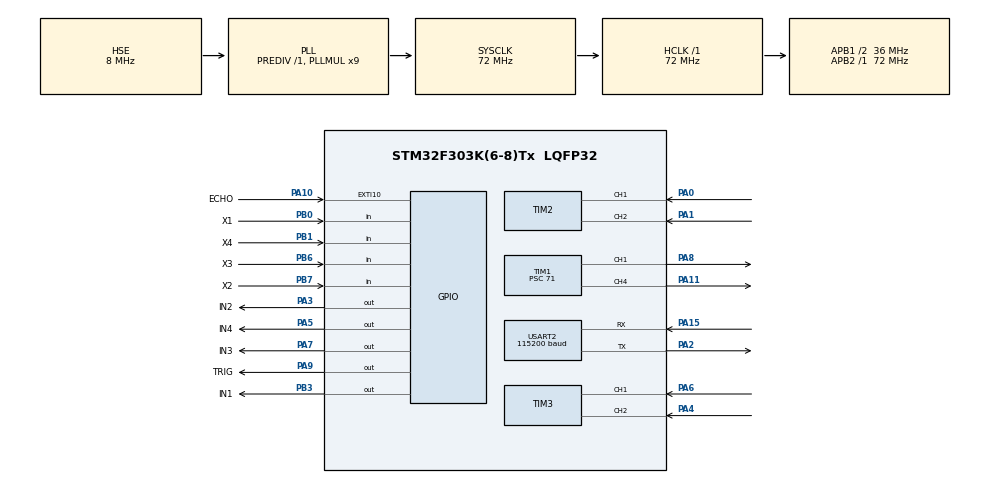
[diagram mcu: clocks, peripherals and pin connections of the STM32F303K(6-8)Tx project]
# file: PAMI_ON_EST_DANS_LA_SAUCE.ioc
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Mcu.Family=STM32F3
Mcu.Name=STM32F303K(6-8)Tx
Mcu.Package=LQFP32
NVIC.EXTI15_10_IRQn=true\:0\:0\:false\:false\:true\:true\:true\:true
NVIC.PriorityGroup=NVIC_PRIORITYGROUP_4
PA0.Signal=S_TIM2_CH1_ETR
PA1.Signal=S_TIM2_CH2
PA10.GPIO_Label=ECHO
PA10.GPIO_ModeDefaultEXTI=GPIO_MODE_IT_RISING_FALLING
PA10.Signal=GPXTI10
PA11.Signal=S_TIM1_CH4
PA13.GPIO_Label=SWDIO
PA13.Mode=Serial_Wire
PA13.Signal=SYS_JTMS-SWDIO
PA14.GPIO_Label=SWCLK
PA14.Mode=Serial_Wire
PA14.Signal=SYS_JTCK-SWCLK
PA15.Mode=Asynchronous
PA15.Signal=USART2_RX
PA2.Mode=Asynchronous
PA2.Signal=USART2_TX
PA3.GPIO_Label=IN2
PA3.Signal=GPIO_Output
PA4.Signal=S_TIM3_CH2
PA5.GPIO_Label=IN4
PA5.Signal=GPIO_Output
PA6.Signal=S_TIM3_CH1
PA7.GPIO_Label=IN3
PA7.Signal=GPIO_Output
PA8.Signal=S_TIM1_CH1
PA9.GPIO_Label=TRIG
PA9.Signal=GPIO_Output
PB0.GPIO_Label=X1
PB0.Signal=GPIO_Input
PB1.GPIO_Label=X4
PB1.Signal=GPIO_Input
PB3.GPIO_Label=IN1
PB3.Signal=GPIO_Output
PB6.GPIO_Label=X3
PB6.Signal=GPIO_Input
PB7.GPIO_Label=X2
PB7.Signal=GPIO_Input
PF0\ /\ OSC_IN.GPIO_Label=MCO
PF0\ /\ OSC_IN.Mode=HSE-External-Clock-Source
PF0\ /\ OSC_IN.Signal=RCC_OSC_IN
ProjectManager.HeapSize=0x200
ProjectManager.StackSize=0x400
ProjectManager.TargetToolchain=STM32CubeIDE
RCC.AHBFreq_Value=72000000
RCC.APB1CLKDivider=RCC_HCLK_DIV2
RCC.APB1Freq_Value=36000000
RCC.APB1TimFreq_Value=72000000
RCC.APB2Freq_Value=72000000
RCC.APB2TimFreq_Value=72000000
RCC.CortexFreq_Value=72000000
RCC.HCLKFreq_Value=72000000
RCC.HSE_VALUE=8000000
RCC.HSI_VALUE=8000000
RCC.PLLMUL=RCC_PLL_MUL9
RCC.PLLSourceVirtual=RCC_PLLSOURCE_HSE
RCC.SYSCLKFreq_VALUE=72000000
RCC.SYSCLKSourceVirtual=RCC_SYSCLKSOURCE_PLLCLK
SH.S_TIM1_CH1.0=TIM1_CH1,PWM Generation1 CH1
SH.S_TIM1_CH4.0=TIM1_CH4,PWM Generation4 CH4
SH.S_TIM2_CH1_ETR.0=TIM2_CH1,Encoder_Interface
SH.S_TIM2_CH2.0=TIM2_CH2,Encoder_Interface
SH.S_TIM3_CH1.0=TIM3_CH1,Encoder_Interface
SH.S_TIM3_CH2.0=TIM3_CH2,Encoder_Interface
TIM1.Channel-PWM\ Generation1\ CH1=TIM_CHANNEL_1
TIM1.Channel-PWM\ Generation4\ CH4=TIM_CHANNEL_4
TIM1.Period=1999
TIM1.Prescaler=71
TIM6.Period=65535
TIM6.Prescaler=71
TIM6.TIM_MasterOutputTrigger=TIM_TRGO_RESET
USART2.BaudRate=115200
USART2.VirtualMode-Asynchronous=VM_ASYNC
VP_TIM1_VS_ClockSourceINT.Mode=Internal
VP_TIM6_VS_ClockSourceINT.Mode=Enable_Timer
board=NUCLEO-F303K8

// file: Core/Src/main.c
/* USER CODE BEGIN Header */
/**
  ******************************************************************************
  * @file           : main.c
  * @brief          : Main program body
  ******************************************************************************
  * @attention
  *
  * Copyright (c) 2026 STMicroelectronics.
  * All rights reserved.
  *
  * This software is licensed under terms that can be found in the LICENSE file
  * in the root directory of this software component.
  * If no LICENSE file comes with this software, it is provided AS-IS.
  *
  ******************************************************************************
  */
/* USER CODE END Header */
#include "main.h"

/* USER CODE BEGIN Includes */
#include <stdio.h>
#include <stdbool.h>
/* USER CODE END Includes */

/* USER CODE BEGIN PD */
// Pins Moteurs
#define IN1_Port GPIOB
#define IN2_Port GPIOA
#define IN3_Port GPIOA
#define IN4_Port GPIOA

// Pins Infrarouge
#define X1_Port GPIOB
#define X2_Port GPIOB
#define X3_Port GPIOB
#define X4_Port GPIOB

// Pins Ultrason
#define TRIG_Port GPIOA
#define ECHO_Port GPIOA

// Détection Ligne
#define HORS_PISTE     /*0b0000*/ 0b00
#define SUR_PISTE      /*0b0110*/ 0b11
#define TOURNER_DROITE /*0b0100*/ 0b10
#define TOURNER_GAUCHE /*0b0010*/ 0b01

#define VITESSE_MOTEUR 100 // MAX = 2000

#define TRIG_BAS  0
#define TRIG_HAUT 1
/* USER CODE END PD */

TIM_HandleTypeDef htim1;
TIM_HandleTypeDef htim2;
TIM_HandleTypeDef htim3;
TIM_HandleTypeDef htim6;

UART_HandleTypeDef huart2;

/* USER CODE BEGIN PV */
bool M1 = 1, M2 = 1;
bool TRIG = TRIG_BAS;
uint8_t detection_ligne = 0;
uint32_t switchTRIG = 0;
uint32_t startECHO = 0, durationECHO = 0, distance = 0;
/* USER CODE END PV */

void SystemClock_Config(void);
static void MX_GPIO_Init(void);
static void MX_TIM1_Init(void);
static void MX_TIM2_Init(void);
static void MX_TIM3_Init(void);
static void MX_TIM6_Init(void);
static void MX_USART2_UART_Init(void);
/* USER CODE BEGIN PFP */
uint32_t us_GetTick(void);
/* USER CODE END PFP */

/* USER CODE BEGIN 0 */
int __io_putchar(int ch){
	HAL_UART_Transmit(&huart2, (uint8_t *)&ch, 1, HAL_MAX_DELAY);
	return ch;
}
int __io_getchar(void){
	uint8_t ch = 0;
	__HAL_UART_CLEAR_OREFLAG(&huart2);
	HAL_UART_Receive(&huart2, (uint8_t *)&ch, 1, HAL_MAX_DELAY);
	HAL_UART_Transmit(&huart2, (uint8_t *)&ch, 1, HAL_MAX_DELAY);
	return ch;
}
/* USER CODE END 0 */

int main(void)
{

  /* USER CODE BEGIN 1 */
  uint32_t us_GetTick() {
	  return __HAL_TIM_GET_COUNTER(&htim6);
  }
  /* USER CODE END 1 */

  /* MCU Configuration--------------------------------------------------------*/

  /* Reset of all peripherals, Initializes the Flash interface and the Systick. */
  HAL_Init();

  /* Configure the system clock */
  SystemClock_Config();

  /* Initialize all configured peripherals */
  MX_GPIO_Init();
  MX_TIM1_Init();
  MX_TIM2_Init();
  MX_TIM3_Init();
  MX_TIM6_Init();
  MX_USART2_UART_Init();
  /* USER CODE BEGIN 2 */
  HAL_TIM_PWM_Start(&htim1, TIM_CHANNEL_1);
  HAL_TIM_PWM_Start(&htim1, TIM_CHANNEL_4);
  HAL_TIM_Base_Start(&htim6);
  /////////////////////////////////////// Config sens moteurs //////////////////////////////////////
  HAL_GPIO_WritePin(IN1_Port, IN1_Pin, 0); HAL_GPIO_WritePin(IN4_Port, IN4_Pin, 0);
  HAL_GPIO_WritePin(IN2_Port, IN2_Pin, 0); HAL_GPIO_WritePin(IN3_Port, IN3_Pin, 0);
  /* USER CODE END 2 */

  /* Infinite loop */
  /* USER CODE BEGIN WHILE */
  while (1)
  {
	  /////////////////////////////////////// Acquisition des capteurs //////////////////////////////////////
	  detection_ligne = (HAL_GPIO_ReadPin(X4_Port, X4_Pin) << 0) |
					    (HAL_GPIO_ReadPin(X3_Port, X3_Pin) << 1) |
					    (HAL_GPIO_ReadPin(X1_Port, X1_Pin) << 2) |
		      		    (HAL_GPIO_ReadPin(X2_Port, X2_Pin) << 3) ;
	  ///////////////////////////////////////////// Test des cas ////////////////////////////////////////////
	  switch(detection_ligne) {
	  case HORS_PISTE:     M1 = M2 = 0;    break;
	  case SUR_PISTE:      M1 = M2 = 1;    break;
	  case TOURNER_DROITE: M1 = 1; M2 = 0; break;
	  case TOURNER_GAUCHE: M1 = 0; M2 = 1; break;
	  }
	  /////////////////////////////// Génération des signaux pour les moteurs ///////////////////////////////
	  __HAL_TIM_SET_COMPARE(&htim1, TIM_CHANNEL_1, M1*VITESSE_MOTEUR); // Moteur de droite
	  __HAL_TIM_SET_COMPARE(&htim1, TIM_CHANNEL_4, M2*VITESSE_MOTEUR); // Moteur de gauche
	  ///////////////////////////////////////////// Partie TRIG /////////////////////////////////////////////
	  switch(TRIG) {
	  case TRIG_BAS:
		  if((us_GetTick() - switchTRIG) > 60000) { // 60 ms pour l'état haut
			  HAL_GPIO_WritePin(TRIG_Port, TRIG_Pin, 1);
			  switchTRIG = us_GetTick();
			  TRIG = TRIG_HAUT;
		  }
		  break;
	  case TRIG_HAUT:
		  if((us_GetTick() - switchTRIG) > 10) { // 10 us pour l'état bas
			  HAL_GPIO_WritePin(TRIG_Port, TRIG_Pin, 0);
			  switchTRIG = us_GetTick();
			  TRIG = TRIG_BAS;
		  }
		  break;
	  }
	  /////////////////////////////////////////// Test de distance //////////////////////////////////////////
	  if(distance < 5) M1 = M2 = 0;
    /* USER CODE END WHILE */

  }
}

void SystemClock_Config(void)
{
  RCC_OscInitTypeDef RCC_OscInitStruct = {0};
  RCC_ClkInitTypeDef RCC_ClkInitStruct = {0};
  RCC_PeriphCLKInitTypeDef PeriphClkInit = {0};

  /** Initializes the RCC Oscillators according to the specified parameters
  * in the RCC_OscInitTypeDef structure.
  */
  RCC_OscInitStruct.OscillatorType = RCC_OSCILLATORTYPE_HSE;
  RCC_OscInitStruct.HSEState = RCC_HSE_BYPASS;
  RCC_OscInitStruct.HSEPredivValue = RCC_HSE_PREDIV_DIV1;
  RCC_OscInitStruct.HSIState = RCC_HSI_ON;
  RCC_OscInitStruct.PLL.PLLState = RCC_PLL_ON;
  RCC_OscInitStruct.PLL.PLLSource = RCC_PLLSOURCE_HSE;
  RCC_OscInitStruct.PLL.PLLMUL = RCC_PLL_MUL9;
  if (HAL_RCC_OscConfig(&RCC_OscInitStruct) != HAL_OK)
  {
    Error_Handler();
  }

  /** Initializes the CPU, AHB and APB buses clocks
  */
  RCC_ClkInitStruct.ClockType = RCC_CLOCKTYPE_HCLK|RCC_CLOCKTYPE_SYSCLK
                              |RCC_CLOCKTYPE_PCLK1|RCC_CLOCKTYPE_PCLK2;
  RCC_ClkInitStruct.SYSCLKSource = RCC_SYSCLKSOURCE_PLLCLK;
  RCC_ClkInitStruct.AHBCLKDivider = RCC_SYSCLK_DIV1;
  RCC_ClkInitStruct.APB1CLKDivider = RCC_HCLK_DIV2;
  RCC_ClkInitStruct.APB2CLKDivider = RCC_HCLK_DIV1;

  if (HAL_RCC_ClockConfig(&RCC_ClkInitStruct, FLASH_LATENCY_2) != HAL_OK)
  {
    Error_Handler();
  }
  PeriphClkInit.PeriphClockSelection = RCC_PERIPHCLK_TIM1;
  PeriphClkInit.Tim1ClockSelection = RCC_TIM1CLK_HCLK;
  if (HAL_RCCEx_PeriphCLKConfig(&PeriphClkInit) != HAL_OK)
  {
    Error_Handler();
  }
}

static void MX_TIM1_Init(void)
{

  TIM_ClockConfigTypeDef sClockSourceConfig = {0};
  TIM_MasterConfigTypeDef sMasterConfig = {0};
  TIM_OC_InitTypeDef sConfigOC = {0};
  TIM_BreakDeadTimeConfigTypeDef sBreakDeadTimeConfig = {0};

  htim1.Instance = TIM1;
  htim1.Init.Prescaler = 71;
  htim1.Init.CounterMode = TIM_COUNTERMODE_UP;
  htim1.Init.Period = 1999;
  htim1.Init.ClockDivision = TIM_CLOCKDIVISION_DIV1;
  htim1.Init.RepetitionCounter = 0;
  htim1.Init.AutoReloadPreload = TIM_AUTORELOAD_PRELOAD_DISABLE;
  if (HAL_TIM_Base_Init(&htim1) != HAL_OK)
  {
    Error_Handler();
  }
  sClockSourceConfig.ClockSource = TIM_CLOCKSOURCE_INTERNAL;
  if (HAL_TIM_ConfigClockSource(&htim1, &sClockSourceConfig) != HAL_OK)
  {
    Error_Handler();
  }
  if (HAL_TIM_PWM_Init(&htim1) != HAL_OK)
  {
    Error_Handler();
  }
  sMasterConfig.MasterOutputTrigger = TIM_TRGO_RESET;
  sMasterConfig.MasterOutputTrigger2 = TIM_TRGO2_RESET;
  sMasterConfig.MasterSlaveMode = TIM_MASTERSLAVEMODE_DISABLE;
  if (HAL_TIMEx_MasterConfigSynchronization(&htim1, &sMasterConfig) != HAL_OK)
  {
    Error_Handler();
  }
  sConfigOC.OCMode = TIM_OCMODE_PWM1;
  sConfigOC.Pulse = 0;
  sConfigOC.OCPolarity = TIM_OCPOLARITY_HIGH;
  sConfigOC.OCNPolarity = TIM_OCNPOLARITY_HIGH;
  sConfigOC.OCFastMode = TIM_OCFAST_DISABLE;
  sConfigOC.OCIdleState = TIM_OCIDLESTATE_RESET;
  sConfigOC.OCNIdleState = TIM_OCNIDLESTATE_RESET;
  if (HAL_TIM_PWM_ConfigChannel(&htim1, &sConfigOC, TIM_CHANNEL_1) != HAL_OK)
  {
    Error_Handler();
  }
  if (HAL_TIM_PWM_ConfigChannel(&htim1, &sConfigOC, TIM_CHANNEL_4) != HAL_OK)
  {
    Error_Handler();
  }
  sBreakDeadTimeConfig.OffStateRunMode = TIM_OSSR_DISABLE;
  sBreakDeadTimeConfig.OffStateIDLEMode = TIM_OSSI_DISABLE;
  sBreakDeadTimeConfig.LockLevel = TIM_LOCKLEVEL_OFF;
  sBreakDeadTimeConfig.DeadTime = 0;
  sBreakDeadTimeConfig.BreakState = TIM_BREAK_DISABLE;
  sBreakDeadTimeConfig.BreakPolarity = TIM_BREAKPOLARITY_HIGH;
  sBreakDeadTimeConfig.BreakFilter = 0;
  sBreakDeadTimeConfig.Break2State = TIM_BREAK2_DISABLE;
  sBreakDeadTimeConfig.Break2Polarity = TIM_BREAK2POLARITY_HIGH;
  sBreakDeadTimeConfig.Break2Filter = 0;
  sBreakDeadTimeConfig.AutomaticOutput = TIM_AUTOMATICOUTPUT_DISABLE;
  if (HAL_TIMEx_ConfigBreakDeadTime(&htim1, &sBreakDeadTimeConfig) != HAL_OK)
  {
    Error_Handler();
  }
  HAL_TIM_MspPostInit(&htim1);

}

static void MX_TIM2_Init(void)
{

  TIM_Encoder_InitTypeDef sConfig = {0};
  TIM_MasterConfigTypeDef sMasterConfig = {0};

  htim2.Instance = TIM2;
  htim2.Init.Prescaler = 0;
  htim2.Init.CounterMode = TIM_COUNTERMODE_UP;
  htim2.Init.Period = 4294967295;
  htim2.Init.ClockDivision = TIM_CLOCKDIVISION_DIV1;
  htim2.Init.AutoReloadPreload = TIM_AUTORELOAD_PRELOAD_DISABLE;
  sConfig.EncoderMode = TIM_ENCODERMODE_TI1;
  sConfig.IC1Polarity = TIM_ICPOLARITY_RISING;
  sConfig.IC1Selection = TIM_ICSELECTION_DIRECTTI;
  sConfig.IC1Prescaler = TIM_ICPSC_DIV1;
  sConfig.IC1Filter = 0;
  sConfig.IC2Polarity = TIM_ICPOLARITY_RISING;
  sConfig.IC2Selection = TIM_ICSELECTION_DIRECTTI;
  sConfig.IC2Prescaler = TIM_ICPSC_DIV1;
  sConfig.IC2Filter = 0;
  if (HAL_TIM_Encoder_Init(&htim2, &sConfig) != HAL_OK)
  {
    Error_Handler();
  }
  sMasterConfig.MasterOutputTrigger = TIM_TRGO_RESET;
  sMasterConfig.MasterSlaveMode = TIM_MASTERSLAVEMODE_DISABLE;
  if (HAL_TIMEx_MasterConfigSynchronization(&htim2, &sMasterConfig) != HAL_OK)
  {
    Error_Handler();
  }

}

static void MX_TIM3_Init(void)
{

  TIM_Encoder_InitTypeDef sConfig = {0};
  TIM_MasterConfigTypeDef sMasterConfig = {0};

  htim3.Instance = TIM3;
  htim3.Init.Prescaler = 0;
  htim3.Init.CounterMode = TIM_COUNTERMODE_UP;
  htim3.Init.Period = 65535;
  htim3.Init.ClockDivision = TIM_CLOCKDIVISION_DIV1;
  htim3.Init.AutoReloadPreload = TIM_AUTORELOAD_PRELOAD_DISABLE;
  sConfig.EncoderMode = TIM_ENCODERMODE_TI1;
  sConfig.IC1Polarity = TIM_ICPOLARITY_RISING;
  sConfig.IC1Selection = TIM_ICSELECTION_DIRECTTI;
  sConfig.IC1Prescaler = TIM_ICPSC_DIV1;
  sConfig.IC1Filter = 0;
  sConfig.IC2Polarity = TIM_ICPOLARITY_RISING;
  sConfig.IC2Selection = TIM_ICSELECTION_DIRECTTI;
  sConfig.IC2Prescaler = TIM_ICPSC_DIV1;
  sConfig.IC2Filter = 0;
  if (HAL_TIM_Encoder_Init(&htim3, &sConfig) != HAL_OK)
  {
    Error_Handler();
  }
  sMasterConfig.MasterOutputTrigger = TIM_TRGO_RESET;
  sMasterConfig.MasterSlaveMode = TIM_MASTERSLAVEMODE_DISABLE;
  if (HAL_TIMEx_MasterConfigSynchronization(&htim3, &sMasterConfig) != HAL_OK)
  {
    Error_Handler();
  }

}

static void MX_TIM6_Init(void)
{

  TIM_MasterConfigTypeDef sMasterConfig = {0};

  htim6.Instance = TIM6;
  htim6.Init.Prescaler = 71;
  htim6.Init.CounterMode = TIM_COUNTERMODE_UP;
  htim6.Init.Period = 65535;
  htim6.Init.AutoReloadPreload = TIM_AUTORELOAD_PRELOAD_DISABLE;
  if (HAL_TIM_Base_Init(&htim6) != HAL_OK)
  {
    Error_Handler();
  }
  sMasterConfig.MasterOutputTrigger = TIM_TRGO_RESET;
  sMasterConfig.MasterSlaveMode = TIM_MASTERSLAVEMODE_DISABLE;
  if (HAL_TIMEx_MasterConfigSynchronization(&htim6, &sMasterConfig) != HAL_OK)
  {
    Error_Handler();
  }

}

static void MX_USART2_UART_Init(void)
{

  huart2.Instance = USART2;
  huart2.Init.BaudRate = 115200;
  huart2.Init.WordLength = UART_WORDLENGTH_8B;
  huart2.Init.StopBits = UART_STOPBITS_1;
  huart2.Init.Parity = UART_PARITY_NONE;
  huart2.Init.Mode = UART_MODE_TX_RX;
  huart2.Init.HwFlowCtl = UART_HWCONTROL_NONE;
  huart2.Init.OverSampling = UART_OVERSAMPLING_16;
  huart2.Init.OneBitSampling = UART_ONE_BIT_SAMPLE_DISABLE;
  huart2.AdvancedInit.AdvFeatureInit = UART_ADVFEATURE_NO_INIT;
  if (HAL_UART_Init(&huart2) != HAL_OK)
  {
    Error_Handler();
  }

}

static void MX_GPIO_Init(void)
{
  GPIO_InitTypeDef GPIO_InitStruct = {0};

  /* GPIO Ports Clock Enable */
  __HAL_RCC_GPIOF_CLK_ENABLE();
  __HAL_RCC_GPIOA_CLK_ENABLE();
  __HAL_RCC_GPIOB_CLK_ENABLE();

  /*Configure GPIO pin Output Level */
  HAL_GPIO_WritePin(GPIOA, IN2_Pin|IN4_Pin|IN3_Pin|TRIG_Pin, GPIO_PIN_RESET);

  /*Configure GPIO pin Output Level */
  HAL_GPIO_WritePin(IN1_GPIO_Port, IN1_Pin, GPIO_PIN_RESET);

  /*Configure GPIO pins : IN2_Pin IN4_Pin IN3_Pin TRIG_Pin */
  GPIO_InitStruct.Pin = IN2_Pin|IN4_Pin|IN3_Pin|TRIG_Pin;
  GPIO_InitStruct.Mode = GPIO_MODE_OUTPUT_PP;
  GPIO_InitStruct.Pull = GPIO_NOPULL;
  GPIO_InitStruct.Speed = GPIO_SPEED_FREQ_LOW;
  HAL_GPIO_Init(GPIOA, &GPIO_InitStruct);

  /*Configure GPIO pins : X1_Pin X4_Pin X3_Pin X2_Pin */
  GPIO_InitStruct.Pin = X1_Pin|X4_Pin|X3_Pin|X2_Pin;
  GPIO_InitStruct.Mode = GPIO_MODE_INPUT;
  GPIO_InitStruct.Pull = GPIO_NOPULL;
  HAL_GPIO_Init(GPIOB, &GPIO_InitStruct);

  /*Configure GPIO pin : ECHO_Pin */
  GPIO_InitStruct.Pin = ECHO_Pin;
  GPIO_InitStruct.Mode = GPIO_MODE_IT_RISING_FALLING;
  GPIO_InitStruct.Pull = GPIO_NOPULL;
  HAL_GPIO_Init(ECHO_GPIO_Port, &GPIO_InitStruct);

  /*Configure GPIO pin : IN1_Pin */
  GPIO_InitStruct.Pin = IN1_Pin;
  GPIO_InitStruct.Mode = GPIO_MODE_OUTPUT_PP;
  GPIO_InitStruct.Pull = GPIO_NOPULL;
  GPIO_InitStruct.Speed = GPIO_SPEED_FREQ_LOW;
  HAL_GPIO_Init(IN1_GPIO_Port, &GPIO_InitStruct);

  /* EXTI interrupt init*/
  HAL_NVIC_SetPriority(EXTI15_10_IRQn, 0, 0);
  HAL_NVIC_EnableIRQ(EXTI15_10_IRQn);

}

/* USER CODE BEGIN 4 */
void HAL_GPIO_EXTI_Callback(uint16_t GPIO_Pin)
{
	///////////////////////////////////////////// Partie ECHO /////////////////////////////////////////////
	if(GPIO_Pin == ECHO_Pin)
	{
		if(HAL_GPIO_ReadPin(ECHO_Port, ECHO_Pin))
		{
			startECHO = HAL_GetTick();
		}
		else
		{
			durationECHO = HAL_GetTick() - startECHO;
			distance = durationECHO * 0.017;
		}
	}
}
/* USER CODE END 4 */

void Error_Handler(void)
{
  __disable_irq();
  while (1)
  {
  }
}
